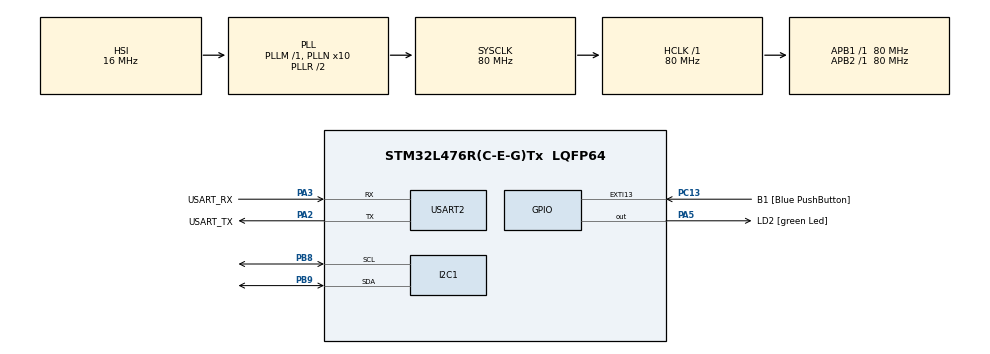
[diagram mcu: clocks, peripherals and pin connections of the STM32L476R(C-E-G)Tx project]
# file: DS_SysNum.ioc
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I2C1.Timing=0x10909CEC
Mcu.Family=STM32L4
Mcu.Name=STM32L476R(C-E-G)Tx
Mcu.Package=LQFP64
NVIC.PriorityGroup=NVIC_PRIORITYGROUP_4
PA13\ (JTMS-SWDIO).GPIO_Label=TMS
PA13\ (JTMS-SWDIO).Mode=Serial_Wire
PA13\ (JTMS-SWDIO).Signal=SYS_JTMS-SWDIO
PA14\ (JTCK-SWCLK).GPIO_Label=TCK
PA14\ (JTCK-SWCLK).Mode=Serial_Wire
PA14\ (JTCK-SWCLK).Signal=SYS_JTCK-SWCLK
PA2.GPIO_Label=USART_TX
PA2.GPIO_Mode=GPIO_MODE_AF_PP
PA2.GPIO_PuPd=GPIO_NOPULL
PA2.GPIO_Speed=GPIO_SPEED_FREQ_VERY_HIGH
PA2.Mode=Asynchronous
PA2.Signal=USART2_TX
PA3.GPIO_Label=USART_RX
PA3.GPIO_Mode=GPIO_MODE_AF_PP
PA3.GPIO_PuPd=GPIO_NOPULL
PA3.GPIO_Speed=GPIO_SPEED_FREQ_VERY_HIGH
PA3.Mode=Asynchronous
PA3.Signal=USART2_RX
PA5.GPIO_Label=LD2 [green Led]
PA5.GPIO_ModeDefaultOutputPP=GPIO_MODE_OUTPUT_PP
PA5.GPIO_PuPd=GPIO_NOPULL
PA5.GPIO_Speed=GPIO_SPEED_FREQ_LOW
PA5.Signal=GPIO_Output
PB3\ (JTDO-TRACESWO).GPIO_Label=SWO
PB3\ (JTDO-TRACESWO).Signal=SYS_JTDO-SWO
PB8.Mode=I2C
PB8.Signal=I2C1_SCL
PB9.Mode=I2C
PB9.Signal=I2C1_SDA
PC13.GPIO_Label=B1 [Blue PushButton]
PC13.GPIO_ModeDefaultEXTI=GPIO_MODE_IT_FALLING
PC13.GPIO_PuPd=GPIO_NOPULL
PC13.Signal=GPXTI13
PC14-OSC32_IN\ (PC14).Mode=LSE-External-Oscillator
PC14-OSC32_IN\ (PC14).Signal=RCC_OSC32_IN
PC15-OSC32_OUT\ (PC15).Mode=LSE-External-Oscillator
PC15-OSC32_OUT\ (PC15).Signal=RCC_OSC32_OUT
PH0-OSC_IN\ (PH0).Signal=RCC_OSC_IN
PH1-OSC_OUT\ (PH1).Signal=RCC_OSC_OUT
ProjectManager.HeapSize=0x200
ProjectManager.StackSize=0x400
ProjectManager.TargetToolchain=STM32CubeIDE
RCC.ADCFreq_Value=64000000
RCC.AHBFreq_Value=80000000
RCC.APB1Freq_Value=80000000
RCC.APB1TimFreq_Value=80000000
RCC.APB2Freq_Value=80000000
RCC.APB2TimFreq_Value=80000000
RCC.CortexFreq_Value=80000000
RCC.HCLKFreq_Value=80000000
RCC.HSE_VALUE=8000000
RCC.HSI_VALUE=16000000
RCC.MSI_VALUE=4000000
RCC.PLLN=10
RCC.PLLSourceVirtual=RCC_PLLSOURCE_HSI
RCC.PREFETCH_ENABLE=1
RCC.SYSCLKFreq_VALUE=80000000
RCC.SYSCLKSource=RCC_SYSCLKSOURCE_PLLCLK
RCC.USBFreq_Value=64000000
RCC.VCOOutputFreq_Value=160000000
USART2.VirtualMode-Asynchronous=VM_ASYNC
board=NUCLEO-L476RG

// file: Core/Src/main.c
/* USER CODE BEGIN Header */
/**
  ******************************************************************************
  * @file           : main.c
  * @brief          : Main program body
  ******************************************************************************
  * @attention
  *
  * Copyright (c) 2024 STMicroelectronics.
  * All rights reserved.
  *
  * This software is licensed under terms that can be found in the LICENSE file
  * in the root directory of this software component.
  * If no LICENSE file comes with this software, it is provided AS-IS.
  *
  ******************************************************************************
  */
/* USER CODE END Header */
#include "main.h"
#include "i2c.h"
#include "usart.h"
#include "gpio.h"

/* USER CODE BEGIN PD */
#define UART_TX_BUFFER_SIZE 64
#define ADRESSE_CAPTEUR 0x48
/* USER CODE END PD */

/* USER CODE BEGIN PV */
uint8_t uartTxBuffer[UART_TX_BUFFER_SIZE];
/* USER CODE END PV */

void SystemClock_Config(void);

int main(void)
{
  /* USER CODE BEGIN 1 */
	uint8_t textLenght;
  /* USER CODE END 1 */

  /* MCU Configuration--------------------------------------------------------*/

  /* Reset of all peripherals, Initializes the Flash interface and the Systick. */
  HAL_Init();

  /* Configure the system clock */
  SystemClock_Config();

  /* Initialize all configured peripherals */
  MX_GPIO_Init();
  MX_USART2_UART_Init();
  MX_I2C1_Init();
  /* USER CODE BEGIN 2 */
  textLenght = snprintf(uartTxBuffer, UART_TX_BUFFER_SIZE, "Test...");
    HAL_UART_Transmit(&huart2, uartTxBuffer, textLenght, 100);
    if(HAL_OK == HAL_I2C_IsDeviceReady(&hi2c1, ADRESSE_CAPTEUR << 1, 1, 100)){
  	  textLenght = snprintf(uartTxBuffer, UART_TX_BUFFER_SIZE, "Le capteur de temperature est pret ! ");
  	  HAL_UART_Transmit(&huart2, uartTxBuffer, textLenght, 100);

    }
    else{
  	  textLenght = snprintf(uartTxBuffer, UART_TX_BUFFER_SIZE, "Le capteur de temperature ne repond pas. ");
  	  HAL_UART_Transmit(&huart2, uartTxBuffer, textLenght, 100);
  	  while(1);
    }

  /* USER CODE END 2 */

  /* Infinite loop */
  /* USER CODE BEGIN WHILE */
  while (1)
  {
      uint8_t rawData[2];
  // Envoyer la commande de lecture de la température
     uint8_t command = 0x00;  // Adresse de température du TCN75S-2
	 HAL_I2C_Master_Transmit(&hi2c1, ADRESSE_CAPTEUR, &command, 1, HAL_MAX_DELAY);

	 // Lire les données brutes de la température (2 octets)
	 HAL_I2C_Master_Receive(&hi2c1, ADRESSE_CAPTEUR, rawData, 2, HAL_MAX_DELAY);

	 // Combiner les octets pour obtenir la valeur brute de la température
	 int16_t rawTemperature = (int16_t)(rawData[0] << 8) | rawData[1];
	 float Temperature=(float)rawTemperature/16;
	 textLenght = snprintf(uartTxBuffer, UART_TX_BUFFER_SIZE, "Temperature : %d\n ", rawTemperature);
	 HAL_UART_Transmit(&huart2, uartTxBuffer, textLenght, 100);
	 HAL_Delay(500);
    /* USER CODE END WHILE */

  }
}

void SystemClock_Config(void)
{
  RCC_OscInitTypeDef RCC_OscInitStruct = {0};
  RCC_ClkInitTypeDef RCC_ClkInitStruct = {0};

  /** Configure the main internal regulator output voltage
  */
  if (HAL_PWREx_ControlVoltageScaling(PWR_REGULATOR_VOLTAGE_SCALE1) != HAL_OK)
  {
    Error_Handler();
  }

  /** Initializes the RCC Oscillators according to the specified parameters
  * in the RCC_OscInitTypeDef structure.
  */
  RCC_OscInitStruct.OscillatorType = RCC_OSCILLATORTYPE_HSI;
  RCC_OscInitStruct.HSIState = RCC_HSI_ON;
  RCC_OscInitStruct.HSICalibrationValue = RCC_HSICALIBRATION_DEFAULT;
  RCC_OscInitStruct.PLL.PLLState = RCC_PLL_ON;
  RCC_OscInitStruct.PLL.PLLSource = RCC_PLLSOURCE_HSI;
  RCC_OscInitStruct.PLL.PLLM = 1;
  RCC_OscInitStruct.PLL.PLLN = 10;
  RCC_OscInitStruct.PLL.PLLP = RCC_PLLP_DIV7;
  RCC_OscInitStruct.PLL.PLLQ = RCC_PLLQ_DIV2;
  RCC_OscInitStruct.PLL.PLLR = RCC_PLLR_DIV2;
  if (HAL_RCC_OscConfig(&RCC_OscInitStruct) != HAL_OK)
  {
    Error_Handler();
  }

  /** Initializes the CPU, AHB and APB buses clocks
  */
  RCC_ClkInitStruct.ClockType = RCC_CLOCKTYPE_HCLK|RCC_CLOCKTYPE_SYSCLK
                              |RCC_CLOCKTYPE_PCLK1|RCC_CLOCKTYPE_PCLK2;
  RCC_ClkInitStruct.SYSCLKSource = RCC_SYSCLKSOURCE_PLLCLK;
  RCC_ClkInitStruct.AHBCLKDivider = RCC_SYSCLK_DIV1;
  RCC_ClkInitStruct.APB1CLKDivider = RCC_HCLK_DIV1;
  RCC_ClkInitStruct.APB2CLKDivider = RCC_HCLK_DIV1;

  if (HAL_RCC_ClockConfig(&RCC_ClkInitStruct, FLASH_LATENCY_4) != HAL_OK)
  {
    Error_Handler();
  }
}

void Error_Handler(void)
{
  __disable_irq();
  while (1)
  {
  }
}
